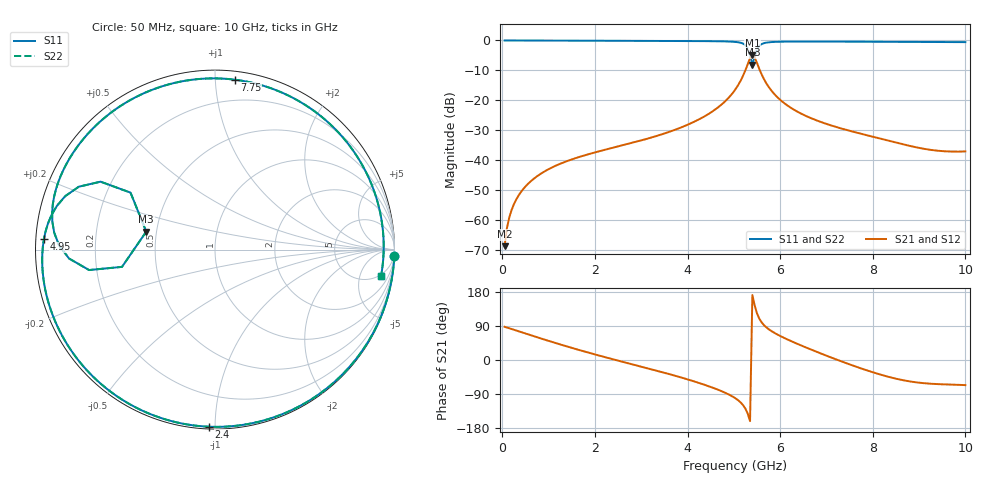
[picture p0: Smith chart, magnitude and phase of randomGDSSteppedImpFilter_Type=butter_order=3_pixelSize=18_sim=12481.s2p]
! freq	dB(S11)	phase(S11)	dB(S12)	phase(S12)
!  dB(S21)	phase(S21)	dB(S22)	phase(S22)
!S-par simulation data
#  GHz  S  DB  R 50
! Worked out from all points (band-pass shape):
!   200 points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, 50 MHz to 10 GHz, reference 50 ohm
!   highest |S21| = -4.92 dB at 5.4 GHz (marker M1); lowest = -68.7 dB at 50 MHz (marker M2)
!   |S21| within 3 dB of the highest: 5.299 GHz to 5.51 GHz (211.4 MHz wide, 3.91 % of centre)
!   lowest |S11| = -8.0 dB at 5.4 GHz (marker M3), VSWR 2.31, Z = 21.9 + j5.2 ohm
!   |S11| at or under -10 dB: nowhere
!   |S22| runs from -8.0 to 0.0 dB; largest |S21 - S12| = 0
!   S11 on the Smith chart (normalised r, x): 50 MHz: 0, -56; 2.4 GHz: 0.01, -0.96; 4.95 GHz: 0.02, +0.03; 7.75 GHz: 0.05, +1.12; 10 GHz: 5, -11
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0.05  -0.00 -2.0  -68.67 87.6  -68.67 87.6  -0.00 -2.0
0.1  -0.00 -4.1  -62.64 85.8  -62.64 85.8  -0.00 -4.1
0.2  -0.01 -8.1  -56.63 81.8  -56.63 81.8  -0.01 -8.1
0.5  -0.03 -20.1  -48.75 69.9  -48.75 69.9  -0.03 -20.1
1  -0.05 -39.8  -42.97 50.4  -42.97 50.4  -0.05 -39.8
1.75  -0.08 -68.4  -38.47 23.2  -38.47 23.2  -0.08 -68.4
2.4  -0.11 -92.0  -35.78 1.6  -35.78 1.6  -0.11 -92.0
3.4  -0.15 -126.7  -31.55 -30.3  -31.55 -30.3  -0.15 -126.7
4.35  -0.22 -159.4  -25.48 -64.7  -25.48 -64.7  -0.22 -159.4
4.95  -0.40 176.5  -18.03 -94.8  -18.03 -94.8  -0.40 176.6
5.05  -0.52 171.2  -15.95 -102.3  -15.95 -102.3  -0.52 171.2
5.3  -2.60 149.3  -7.88 -141.7  -7.88 -141.7  -2.60 149.3
5.4  -8.05 165.4  -4.92 171.5  -4.92 171.5  -8.04 165.4
5.45  -5.56 -169.5  -5.67 143.8  -5.67 143.8  -5.56 -169.5
5.5  -2.97 -170.8  -7.52 123.0  -7.52 123.0  -2.97 -170.8
5.7  -0.73 170.3  -14.26 86.4  -14.26 86.4  -0.73 170.3
6.1  -0.40 150.1  -21.07 57.4  -21.07 57.4  -0.40 150.1
6.7  -0.37 125.8  -26.15 25.9  -26.15 25.9  -0.37 125.8
7.75  -0.42 83.4  -31.16 -22.3  -31.16 -22.3  -0.42 83.4
8.35  -0.45 58.3  -33.49 -44.8  -33.49 -44.8  -0.45 58.3
9.2  -0.49 22.8  -36.41 -62.2  -36.41 -62.2  -0.49 22.8
10  -0.57 -9.0  -37.04 -66.3  -37.04 -66.3  -0.57 -9.0
